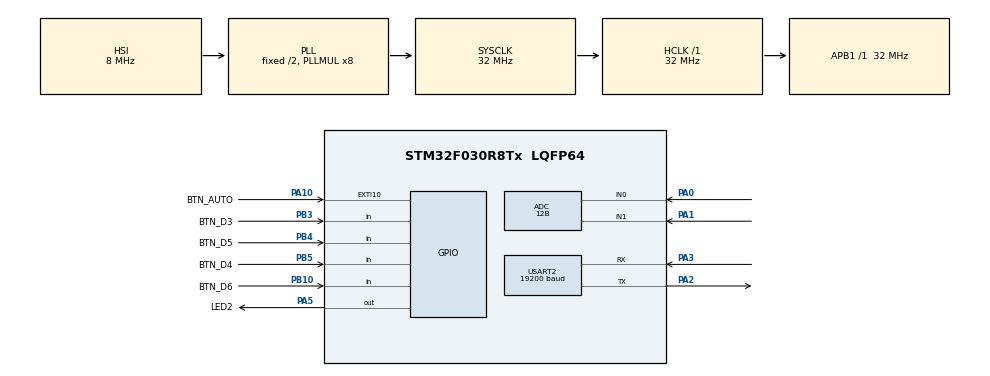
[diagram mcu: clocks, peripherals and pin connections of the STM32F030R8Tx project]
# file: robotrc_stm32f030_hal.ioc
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ADC.ClockPrescaler=ADC_CLOCK_ASYNC_DIV1
ADC.ContinuousConvMode=ENABLE
ADC.DMAContinuousRequests=ENABLE
ADC.DataAlign=ADC_DATAALIGN_RIGHT
ADC.DiscontinuousConvMode=DISABLE
ADC.EOCSelection=ADC_EOC_SINGLE_CONV
ADC.EnableAnalogWatchDog=false
ADC.ExternalTrigConvEdge=ADC_EXTERNALTRIGCONVEDGE_NONE
ADC.LowPowerAutoPowerOff=DISABLE
ADC.LowPowerAutoWait=DISABLE
ADC.Overrun=ADC_OVR_DATA_PRESERVED
ADC.Resolution=ADC_RESOLUTION_12B
ADC.SamplingTime=ADC_SAMPLETIME_1CYCLE_5
ADC.ScanConvMode=ADC_SCAN_DIRECTION_FORWARD
Dma.ADC.0.Direction=DMA_PERIPH_TO_MEMORY
Dma.ADC.0.Instance=DMA1_Channel1
Dma.ADC.0.MemDataAlignment=DMA_MDATAALIGN_HALFWORD
Dma.ADC.0.MemInc=DMA_MINC_ENABLE
Dma.ADC.0.Mode=DMA_CIRCULAR
Dma.ADC.0.PeriphDataAlignment=DMA_PDATAALIGN_HALFWORD
Dma.ADC.0.PeriphInc=DMA_PINC_DISABLE
Dma.ADC.0.Priority=DMA_PRIORITY_LOW
Dma.Request0=ADC
Mcu.Family=STM32F0
Mcu.Name=STM32F030R8Tx
Mcu.Package=LQFP64
NVIC.DMA1_Channel1_IRQn=true\:0\:0\:false\:false\:true
NVIC.EXTI4_15_IRQn=true\:0\:0\:false\:false\:true
NVIC.USART2_IRQn=true\:0\:0\:false\:false\:true
PA0.Mode=IN0
PA0.Signal=ADC_IN0
PA1.Mode=IN1
PA1.Signal=ADC_IN1
PA10.GPIO_Label=BTN_AUTO
PA10.GPIO_ModeDefaultEXTI=GPIO_MODE_IT_FALLING
PA10.GPIO_PuPd=GPIO_PULLUP
PA10.Signal=GPXTI10
PA2.Mode=Asynchronous
PA2.Signal=USART2_TX
PA3.Mode=Asynchronous
PA3.Signal=USART2_RX
PA5.GPIO_Label=LED2
PA5.Signal=GPIO_Output
PB10.GPIO_Label=BTN_D6
PB10.GPIO_PuPd=GPIO_PULLUP
PB10.Signal=GPIO_Input
PB3.GPIO_Label=BTN_D3
PB3.GPIO_PuPd=GPIO_PULLUP
PB3.Signal=GPIO_Input
PB4.GPIO_Label=BTN_D5
PB4.GPIO_PuPd=GPIO_PULLUP
PB4.Signal=GPIO_Input
PB5.GPIO_Label=BTN_D4
PB5.GPIO_PuPd=GPIO_PULLUP
PB5.Signal=GPIO_Input
PC14-OSC32_IN.Mode=LSE-External-Oscillator
PC14-OSC32_IN.Signal=RCC_OSC32_IN
PC15-OSC32_OUT.Mode=LSE-External-Oscillator
PC15-OSC32_OUT.Signal=RCC_OSC32_OUT
ProjectManager.HeapSize=0x200
ProjectManager.StackSize=0x400
ProjectManager.TargetToolchain=MDK-ARM V5
RCC.AHBFreq_Value=32000000
RCC.APB1Freq_Value=32000000
RCC.APB1TimFreq_Value=32000000
RCC.HCLKFreq_Value=32000000
RCC.PLLMUL=RCC_PLL_MUL8
RCC.SYSCLKFreq_VALUE=32000000
RCC.SYSCLKSource=RCC_SYSCLKSOURCE_PLLCLK
USART2.BaudRate=19200
USART2.VirtualMode-Asynchronous=VM_ASYNC
board=robotrc_stm32f030_hal

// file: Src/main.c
/**
  ******************************************************************************
  * File Name          : main.c
  * Description        : Main program body
  ******************************************************************************
  *
  * COPYRIGHT(c) 2017 STMicroelectronics
  *
  * Redistribution and use in source and binary forms, with or without modification,
  * are permitted provided that the following conditions are met:
  *   1. Redistributions of source code must retain the above copyright notice,
  *      this list of conditions and the following disclaimer.
  *   2. Redistributions in binary form must reproduce the above copyright notice,
  *      this list of conditions and the following disclaimer in the documentation
  *      and/or other materials provided with the distribution.
  *   3. Neither the name of STMicroelectronics nor the names of its contributors
  *      may be used to endorse or promote products derived from this software
  *      without specific prior written permission.
  *
  * THIS SOFTWARE IS PROVIDED BY THE COPYRIGHT HOLDERS AND CONTRIBUTORS "AS IS"
  * AND ANY EXPRESS OR IMPLIED WARRANTIES, INCLUDING, BUT NOT LIMITED TO, THE
  * IMPLIED WARRANTIES OF MERCHANTABILITY AND FITNESS FOR A PARTICULAR PURPOSE ARE
  * DISCLAIMED. IN NO EVENT SHALL THE COPYRIGHT HOLDER OR CONTRIBUTORS BE LIABLE
  * FOR ANY DIRECT, INDIRECT, INCIDENTAL, SPECIAL, EXEMPLARY, OR CONSEQUENTIAL
  * DAMAGES (INCLUDING, BUT NOT LIMITED TO, PROCUREMENT OF SUBSTITUTE GOODS OR
  * SERVICES; LOSS OF USE, DATA, OR PROFITS; OR BUSINESS INTERRUPTION) HOWEVER
  * CAUSED AND ON ANY THEORY OF LIABILITY, WHETHER IN CONTRACT, STRICT LIABILITY,
  * OR TORT (INCLUDING NEGLIGENCE OR OTHERWISE) ARISING IN ANY WAY OUT OF THE USE
  * OF THIS SOFTWARE, EVEN IF ADVISED OF THE POSSIBILITY OF SUCH DAMAGE.
  *
  ******************************************************************************
  */
#include "stm32f0xx_hal.h"

/* USER CODE BEGIN Includes */
#include "hwdrv.h"

/* USER CODE END Includes */

ADC_HandleTypeDef hadc;
DMA_HandleTypeDef hdma_adc;

UART_HandleTypeDef huart2;

/* USER CODE BEGIN PV */
/* Private variables ---------------------------------------------------------*/
uint8_t cmd[TXNUM] = { '\0' };
uint16_t ADCBuffer[ARRAYSIZE];
uint16_t x_coord, y_coord;
DATA_TypeDef data;
int16_t tmp_l, tmp_r;
__IO uint8_t drvl = 0x40;
__IO uint8_t drvr = 0x40;
__IO uint8_t tmp_drvl = 0;
__IO uint8_t tmp_drvr = 0;
__IO uint8_t flg = 0;
__IO uint8_t response_count = 0;

/* USER CODE END PV */

void SystemClock_Config(void);
void Error_Handler(void);
static void MX_GPIO_Init(void);
static void MX_DMA_Init(void);
static void MX_USART2_UART_Init(void);
static void MX_ADC_Init(void);
static void SystemClock_Config(void);

/* USER CODE BEGIN PFP */
/* Private function prototypes -----------------------------------------------*/

/* USER CODE END PFP */

int main(void)
{

  /* MCU Configuration----------------------------------------------------------*/

  /* Reset of all peripherals, Initializes the Flash interface and the Systick. */
  HAL_Init();

  /* Configure the system clock */
  SystemClock_Config();

  /* Initialize all configured peripherals */
  MX_GPIO_Init();
  MX_DMA_Init();
  MX_USART2_UART_Init();
  MX_ADC_Init();

  /* USER CODE BEGIN 2 */
  __HAL_UART_ENABLE_IT(&huart2, UART_IT_RXNE);
  HAL_ADC_Start_DMA(&hadc, (uint32_t *) &ADCBuffer, ARRAYSIZE);
  /* USER CODE END 2 */

  /* Infinite loop */
  while (1)
  {

  /* USER CODE BEGIN 3 */
    HAL_Delay(50);
    HAL_GPIO_TogglePin(GPIOA, GPIO_PIN_5);

    data.currentStatus |= Status_OK;

    if (data.currentStatus & Status_AUTO)
    {
        if ((y_coord > 3000) && ((x_coord > 1900) && (x_coord < 2200)))
        {
            data.currentStatus &= 0xF0; data.currentStatus |= Status_FORWARD;
        }
        else if ((y_coord < 1000) && ((x_coord > 1900) && (x_coord < 2100)))
        {
            data.currentStatus &= 0xF0; data.currentStatus |= Status_BACK;
        }
        else if ((x_coord > 3000)  && ((y_coord > 1900) && (y_coord < 2100)))
        {
            data.currentStatus &= 0xF0; data.currentStatus |= Status_RIGHT;
        }
        else if ((x_coord < 1000)  && ((y_coord > 1800) && (y_coord < 2100)))
        {
            data.currentStatus &= 0xF0; data.currentStatus |= Status_LEFT;
        }
        else if ((x_coord > 4000)  && (y_coord > 4000))
        {
            data.currentStatus &= 0xF0; data.currentStatus |= Status_SLEFT;
        }
        else if ((x_coord < 50)  && (y_coord < 50))
        {
            data.currentStatus &= 0xF0; data.currentStatus |= Status_SBRIGHT;
        }
        else if ((x_coord < 50)  && (y_coord > 4000))
        {
            data.currentStatus &= 0xF0; data.currentStatus |= Status_SRIGHT;
        }
        else if ((x_coord > 4000)  && (y_coord < 50))
        {
            data.currentStatus &= 0xF0; data.currentStatus |= Status_SBLEFT;
        }
        cmd[1] = data.currentStatus;
    }
    else
    {

        tmp_l = tmp_r = y_coord;

        if (x_coord >= MIDVAL)
        {
            tmp_l = y_coord + (x_coord - MIDVAL);
            tmp_r = y_coord - (x_coord - MIDVAL);
        }
        else if (x_coord < MIDVAL)
        {
            tmp_l = y_coord - (MIDVAL - x_coord);
            tmp_r = y_coord + (MIDVAL - x_coord);
        }
        if (tmp_l > MAXVAL) tmp_l = MAXVAL;
        if (tmp_r > MAXVAL) tmp_r = MAXVAL;

        if (tmp_l < 0) tmp_l = 0;
        if (tmp_r < 0) tmp_r = 0;
        drvl = tmp_l * MAXPWM / MAXVAL;
        drvr = tmp_r * MAXPWM / MAXVAL;

        data.currentStatus &= 0xF0;

    }

    /* Users buttons */
    if (!HAL_GPIO_ReadPin(BTN_D3_GPIO_Port, BTN_D3_Pin))
    {
      data.armStatus = ARM_CMD_RELEASE;
    }
    else if (!HAL_GPIO_ReadPin(BTN_D4_GPIO_Port, BTN_D4_Pin))
    {
      data.armStatus = ARM_CMD_DOWN;
    }
    else if (!HAL_GPIO_ReadPin(BTN_D5_GPIO_Port, BTN_D5_Pin))
    {
      data.armStatus = ARM_CMD_UP;
    }
    else if (!HAL_GPIO_ReadPin(BTN_D6_GPIO_Port, BTN_D6_Pin))
    {
      data.armStatus = ARM_CMD_GRAB;
    }
    else
    {
      data.armStatus = ARM_CMD_NO;
    }

    cmd[0] = STARTMARKER;
    cmd[1] = data.currentStatus;
    cmd[2] = drvl;
    cmd[3] = drvr;
    cmd[4] = data.armStatus;
    cmd[5] = STOPMARKER;
    HAL_UART_Transmit_IT(&huart2, (uint8_t *)cmd, TXNUM);
    HAL_ADC_Start_DMA(&hadc, (uint32_t *) &ADCBuffer, ARRAYSIZE);
  }
  /* USER CODE END 3 */

}

/** System Clock Configuration
*/
void SystemClock_Config(void)
{

  RCC_OscInitTypeDef RCC_OscInitStruct;
  RCC_ClkInitTypeDef RCC_ClkInitStruct;

  RCC_OscInitStruct.OscillatorType = RCC_OSCILLATORTYPE_HSI|RCC_OSCILLATORTYPE_HSI14;
  RCC_OscInitStruct.HSIState = RCC_HSI_ON;
  RCC_OscInitStruct.HSI14State = RCC_HSI14_ON;
  RCC_OscInitStruct.HSICalibrationValue = 16;
  RCC_OscInitStruct.HSI14CalibrationValue = 16;
  RCC_OscInitStruct.PLL.PLLState = RCC_PLL_ON;
  RCC_OscInitStruct.PLL.PLLSource = RCC_PLLSOURCE_HSI;
  RCC_OscInitStruct.PLL.PLLMUL = RCC_PLL_MUL8;
  RCC_OscInitStruct.PLL.PREDIV = RCC_PREDIV_DIV1;
  if (HAL_RCC_OscConfig(&RCC_OscInitStruct) != HAL_OK)
  {
    Error_Handler();
  }

  RCC_ClkInitStruct.ClockType = RCC_CLOCKTYPE_HCLK|RCC_CLOCKTYPE_SYSCLK
                              |RCC_CLOCKTYPE_PCLK1;
  RCC_ClkInitStruct.SYSCLKSource = RCC_SYSCLKSOURCE_PLLCLK;
  RCC_ClkInitStruct.AHBCLKDivider = RCC_SYSCLK_DIV1;
  RCC_ClkInitStruct.APB1CLKDivider = RCC_HCLK_DIV1;
  if (HAL_RCC_ClockConfig(&RCC_ClkInitStruct, FLASH_LATENCY_1) != HAL_OK)
  {
    Error_Handler();
  }

  HAL_SYSTICK_Config(HAL_RCC_GetHCLKFreq()/1000);

  HAL_SYSTICK_CLKSourceConfig(SYSTICK_CLKSOURCE_HCLK);

  /* SysTick_IRQn interrupt configuration */
  HAL_NVIC_SetPriority(SysTick_IRQn, 0, 0);
}

/* ADC init function */
static void MX_ADC_Init(void)
{

  ADC_ChannelConfTypeDef sConfig;

    /**Configure the global features of the ADC (Clock, Resolution, Data Alignment and number of conversion)
    */
  hadc.Instance = ADC1;
  hadc.Init.ClockPrescaler = ADC_CLOCK_ASYNC_DIV1;
  hadc.Init.Resolution = ADC_RESOLUTION_12B;
  hadc.Init.DataAlign = ADC_DATAALIGN_RIGHT;
  hadc.Init.ScanConvMode = ADC_SCAN_DIRECTION_FORWARD;
  hadc.Init.EOCSelection = ADC_EOC_SINGLE_CONV;
  hadc.Init.LowPowerAutoWait = DISABLE;
  hadc.Init.LowPowerAutoPowerOff = DISABLE;
  hadc.Init.ContinuousConvMode = ENABLE;
  hadc.Init.DiscontinuousConvMode = DISABLE;
  hadc.Init.ExternalTrigConvEdge = ADC_EXTERNALTRIGCONVEDGE_NONE;
  hadc.Init.DMAContinuousRequests = ENABLE;
  hadc.Init.Overrun = ADC_OVR_DATA_PRESERVED;
  if (HAL_ADC_Init(&hadc) != HAL_OK)
  {
    Error_Handler();
  }

    /**Configure for the selected ADC regular channel to be converted.
    */
  sConfig.Channel = ADC_CHANNEL_0;
  sConfig.Rank = ADC_RANK_CHANNEL_NUMBER;
  sConfig.SamplingTime = ADC_SAMPLETIME_1CYCLE_5;
  if (HAL_ADC_ConfigChannel(&hadc, &sConfig) != HAL_OK)
  {
    Error_Handler();
  }

    /**Configure for the selected ADC regular channel to be converted.
    */
  sConfig.Channel = ADC_CHANNEL_1;
  if (HAL_ADC_ConfigChannel(&hadc, &sConfig) != HAL_OK)
  {
    Error_Handler();
  }

}

/* USART2 init function */
static void MX_USART2_UART_Init(void)
{

  huart2.Instance = USART2;
  huart2.Init.BaudRate = 19200;
  huart2.Init.WordLength = UART_WORDLENGTH_8B;
  huart2.Init.StopBits = UART_STOPBITS_1;
  huart2.Init.Parity = UART_PARITY_NONE;
  huart2.Init.Mode = UART_MODE_TX_RX;
  huart2.Init.HwFlowCtl = UART_HWCONTROL_NONE;
  huart2.Init.OverSampling = UART_OVERSAMPLING_16;
  huart2.Init.OneBitSampling = UART_ONE_BIT_SAMPLE_DISABLE;
  huart2.AdvancedInit.AdvFeatureInit = UART_ADVFEATURE_NO_INIT;
  if (HAL_UART_Init(&huart2) != HAL_OK)
  {
    Error_Handler();
  }

}

static void MX_DMA_Init(void)
{
  /* DMA controller clock enable */
  __HAL_RCC_DMA1_CLK_ENABLE();

  /* DMA interrupt init */
  /* DMA1_Channel1_IRQn interrupt configuration */
  HAL_NVIC_SetPriority(DMA1_Channel1_IRQn, 0, 0);
  HAL_NVIC_EnableIRQ(DMA1_Channel1_IRQn);

}

/** Configure pins as
        * Analog
        * Input
        * Output
        * EVENT_OUT
        * EXTI
*/
static void MX_GPIO_Init(void)
{

  GPIO_InitTypeDef GPIO_InitStruct;

  /* GPIO Ports Clock Enable */
  __HAL_RCC_GPIOC_CLK_ENABLE();
  __HAL_RCC_GPIOA_CLK_ENABLE();
  __HAL_RCC_GPIOB_CLK_ENABLE();

  /*Configure GPIO pin Output Level */
  HAL_GPIO_WritePin(LED2_GPIO_Port, LED2_Pin, GPIO_PIN_RESET);

  /*Configure GPIO pin : LED2_Pin */
  GPIO_InitStruct.Pin = LED2_Pin;
  GPIO_InitStruct.Mode = GPIO_MODE_OUTPUT_PP;
  GPIO_InitStruct.Pull = GPIO_NOPULL;
  GPIO_InitStruct.Speed = GPIO_SPEED_FREQ_LOW;
  HAL_GPIO_Init(LED2_GPIO_Port, &GPIO_InitStruct);

  /*Configure GPIO pins : BTN_D6_Pin BTN_D3_Pin BTN_D5_Pin BTN_D4_Pin */
  GPIO_InitStruct.Pin = BTN_D6_Pin|BTN_D3_Pin|BTN_D5_Pin|BTN_D4_Pin;
  GPIO_InitStruct.Mode = GPIO_MODE_INPUT;
  GPIO_InitStruct.Pull = GPIO_PULLUP;
  HAL_GPIO_Init(GPIOB, &GPIO_InitStruct);

  /*Configure GPIO pin : BTN_AUTO_Pin */
  GPIO_InitStruct.Pin = BTN_AUTO_Pin;
  GPIO_InitStruct.Mode = GPIO_MODE_IT_FALLING;
  GPIO_InitStruct.Pull = GPIO_PULLUP;
  HAL_GPIO_Init(BTN_AUTO_GPIO_Port, &GPIO_InitStruct);

  /* EXTI interrupt init*/
  HAL_NVIC_SetPriority(EXTI4_15_IRQn, 0, 0);
  HAL_NVIC_EnableIRQ(EXTI4_15_IRQn);

}

/* USER CODE BEGIN 4 */
void HAL_ADC_ConvCpltCallback(ADC_HandleTypeDef *hadc)
{
  x_coord = (ADCBuffer[0] + ADCBuffer[2] + ADCBuffer[4] + ADCBuffer[6] + ADCBuffer[8]) / 5;
  y_coord = (ADCBuffer[1] + ADCBuffer[3] + ADCBuffer[5] + ADCBuffer[7] + ADCBuffer[9]) / 5;
  if ((x_coord > 1800)&(x_coord < 2200)) x_coord = MIDVAL;
  if ((y_coord > 1800)&(y_coord < 2200)) y_coord = MIDVAL;
  HAL_ADC_Stop_DMA(hadc);
}

void HAL_GPIO_EXTI_Callback(uint16_t GPIO_Pin)
{
  if (data.currentStatus & Status_AUTO)
    data.currentStatus &= ~(Status_AUTO);
  else
    data.currentStatus |= Status_AUTO;
}

/* USER CODE END 4 */

void Error_Handler(void)
{
  while(1)
  {
  }
}

/************************ (C) COPYRIGHT STMicroelectronics *****END OF FILE****/
